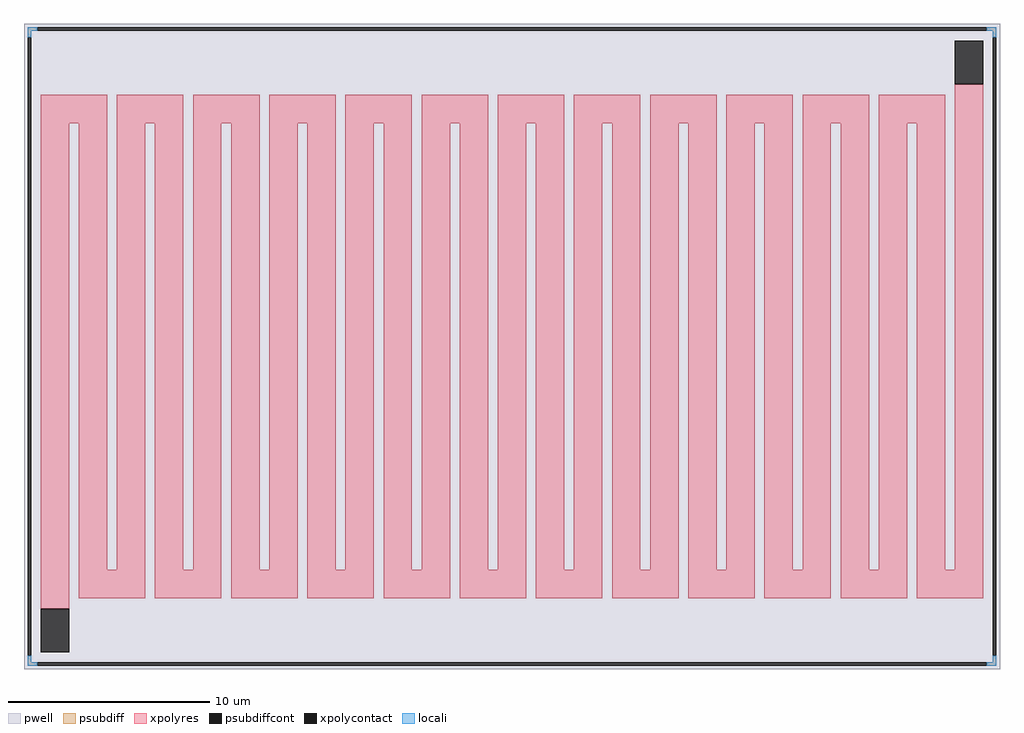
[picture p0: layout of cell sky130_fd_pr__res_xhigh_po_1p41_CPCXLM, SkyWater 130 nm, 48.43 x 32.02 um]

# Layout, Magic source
magic
tech sky130A
magscale 1 2
<< pwell >>
rect -4843 -3202 4843 3202
<< psubdiff >>
rect -4807 3132 -4711 3166
rect 4711 3132 4807 3166
rect -4807 3070 -4773 3132
rect 4773 3070 4807 3132
rect -4807 -3132 -4773 -3070
rect 4773 -3132 4807 -3070
rect -4807 -3166 -4711 -3132
rect 4711 -3166 4807 -3132
<< psubdiffcont >>
rect -4711 3132 4711 3166
rect -4807 -3070 -4773 3070
rect 4773 -3070 4807 3070
rect -4711 -3166 4711 -3132
<< xpolycontact >>
rect 4395 2604 4677 3036
rect -4677 -3036 -4395 -2604
<< xpolyres >>
rect -4677 2218 -4017 2500
rect -4677 -2604 -4395 2218
rect -4299 -2218 -4017 2218
rect -3921 2218 -3261 2500
rect -3921 -2218 -3639 2218
rect -4299 -2500 -3639 -2218
rect -3543 -2218 -3261 2218
rect -3165 2218 -2505 2500
rect -3165 -2218 -2883 2218
rect -3543 -2500 -2883 -2218
rect -2787 -2218 -2505 2218
rect -2409 2218 -1749 2500
rect -2409 -2218 -2127 2218
rect -2787 -2500 -2127 -2218
rect -2031 -2218 -1749 2218
rect -1653 2218 -993 2500
rect -1653 -2218 -1371 2218
rect -2031 -2500 -1371 -2218
rect -1275 -2218 -993 2218
rect -897 2218 -237 2500
rect -897 -2218 -615 2218
rect -1275 -2500 -615 -2218
rect -519 -2218 -237 2218
rect -141 2218 519 2500
rect -141 -2218 141 2218
rect -519 -2500 141 -2218
rect 237 -2218 519 2218
rect 615 2218 1275 2500
rect 615 -2218 897 2218
rect 237 -2500 897 -2218
rect 993 -2218 1275 2218
rect 1371 2218 2031 2500
rect 1371 -2218 1653 2218
rect 993 -2500 1653 -2218
rect 1749 -2218 2031 2218
rect 2127 2218 2787 2500
rect 2127 -2218 2409 2218
rect 1749 -2500 2409 -2218
rect 2505 -2218 2787 2218
rect 2883 2218 3543 2500
rect 2883 -2218 3165 2218
rect 2505 -2500 3165 -2218
rect 3261 -2218 3543 2218
rect 3639 2218 4299 2500
rect 3639 -2218 3921 2218
rect 3261 -2500 3921 -2218
rect 4017 -2218 4299 2218
rect 4395 -2218 4677 2604
rect 4017 -2500 4677 -2218
<< locali >>
rect -4807 3132 -4711 3166
rect 4711 3132 4807 3166
rect -4807 3070 -4773 3132
rect 4773 3070 4807 3132
rect -4807 -3132 -4773 -3070
rect 4773 -3132 4807 -3070
rect -4807 -3166 -4711 -3132
rect 4711 -3166 4807 -3132
<< properties >>
string FIXED_BBOX -4790 -3149 4790 3149
string gencell sky130_fd_pr__res_xhigh_po_1p41
string library sky130
string parameters w 1.41 l 25.0 m 1 nx 25 wmin 1.410 lmin 0.50 rho 2000 val 934.791k dummy 0 dw 0.0 term 188.2 sterm 0.0 caplen 0 wmax 1.410 guard 1 glc 1 grc 1 gtc 1 gbc 1 compatible {sky130_fd_pr__res_xhigh_po_0p35  sky130_fd_pr__res_xhigh_po_0p69 sky130_fd_pr__res_xhigh_po_1p41  sky130_fd_pr__res_xhigh_po_2p85 sky130_fd_pr__res_xhigh_po_5p73} snake 1 full_metal 1 n_guard 0 hv_guard 0 vias 1 viagb 0 viagt 0 viagl 0 viagr 0
<< end >>
